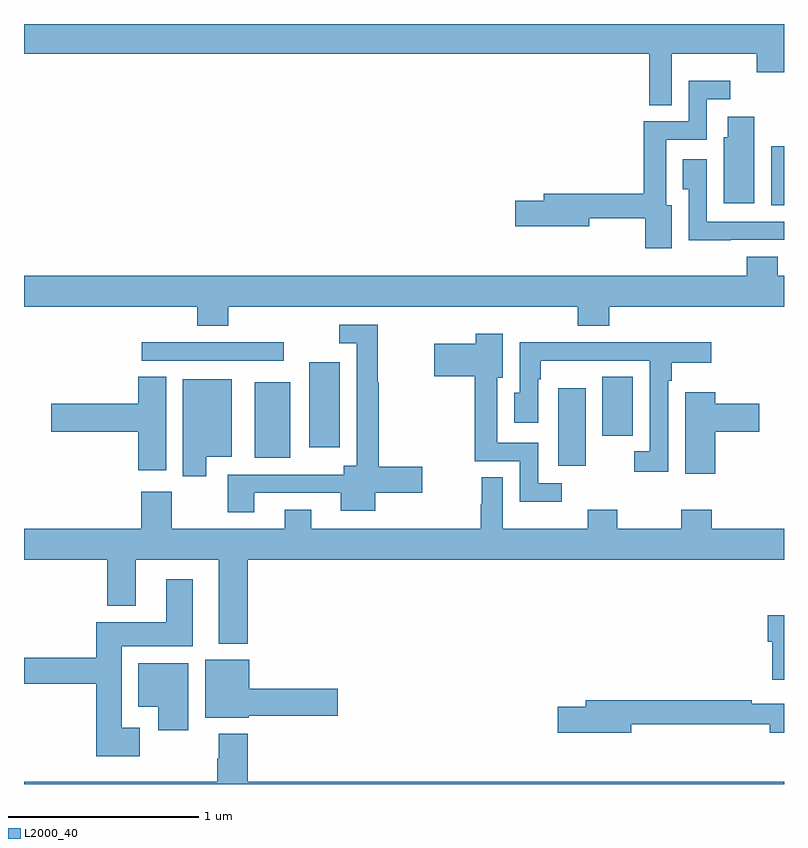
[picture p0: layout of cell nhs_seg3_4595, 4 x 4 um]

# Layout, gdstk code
import gdstk
lib = gdstk.Library(unit=1e-6, precision=1e-09)
def R(c, l, rs):  # rectangles x0, y0, x1, y1
    for r in rs: c.add(gdstk.rectangle(r[:2], r[2:], *l))
def P(c, l, *ps):  # polygons
    for p in ps: c.add(gdstk.Polygon(p, *l))
L2000_40 = (2000, 40)

nhs_seg3_4595 = lib.new_cell('nhs_seg3_4595')
R(nhs_seg3_4595, L2000_40, [(359.813,704.076,359.956,704.482), (358.214,704.117,358.402,704.515), (358.502,704.172,358.663,704.62), (360.044,704.232,360.205,704.543), (357.621,704.628,358.366,704.724), (360.932,705.445,361,705.756)])
P(nhs_seg3_4595, L2000_40, [(360.409,706.244),(360.856,706.244),(360.856,706.145),(361,706.145),(361,706.4),(357,706.4),(357,706.244),(360.291,706.244),(360.291,705.973),(360.409,705.973)],
  [(360.409,705.447),(360.379,705.447),(360.379,705.792),(360.594,705.792),(360.594,706.005),(360.718,706.005),(360.718,706.102),(360.498,706.102),(360.498,705.888),(360.261,705.888),(360.261,705.506),(359.735,705.506),(359.735,705.47),(359.586,705.47),(359.586,705.335),(359.974,705.335),(359.974,705.378),(360.271,705.378),(360.271,705.219),(360.409,705.219)],
  [(360.844,705.913),(360.704,705.913),(360.704,705.804),(360.683,705.804),(360.683,705.456),(360.844,705.456)],
  [(360.719,705.264),(361,705.264),(361,705.36),(360.594,705.36),(360.594,705.688),(360.467,705.688),(360.467,705.529),(360.498,705.529),(360.498,705.263),(360.719,705.263)],
  [(358.076,704.912),(359.915,704.912),(359.915,704.813),(360.08,704.813),(360.08,704.912),(361,704.912),(361,705.076),(360.968,705.076),(360.968,705.175),(360.803,705.175),(360.803,705.076),(357,705.076),(357,704.912),(357.911,704.912),(357.911,704.813),(358.076,704.813)],
  [(358.213,703.932),(358.667,703.932),(358.667,703.838),(358.849,703.838),(358.849,703.934),(359.095,703.934),(359.095,704.069),(358.868,704.069),(358.868,704.514),(358.861,704.514),(358.861,704.817),(358.659,704.817),(358.659,704.721),(358.752,704.721),(358.752,704.074),(358.682,704.074),(358.682,704.028),(358.073,704.028),(358.073,703.83),(358.213,703.83)],
  [(359.83,703.983),(359.706,703.983),(359.706,704.196),(359.491,704.196),(359.491,704.537),(359.521,704.537),(359.521,704.77),(359.378,704.77),(359.378,704.716),(359.16,704.716),(359.16,704.546),(359.373,704.546),(359.373,704.1),(359.61,704.1),(359.61,703.886),(359.83,703.886)],
  [(360.39,704.522),(360.41,704.522),(360.41,704.618),(360.616,704.618),(360.616,704.726),(360.197,704.726),(360.197,704.724),(359.831,704.724),(359.831,704.726),(359.61,704.726),(359.61,704.46),(359.579,704.46),(359.579,704.301),(359.706,704.301),(359.706,704.531),(359.719,704.531),(359.719,704.627),(359.948,704.627),(359.948,704.628),(360.294,704.628),(360.294,704.151),(360.213,704.151),(360.213,704.043),(360.39,704.043)],
  [(357.748,704.543),(357.602,704.543),(357.602,704.402),(357.144,704.402),(357.144,704.255),(357.602,704.255),(357.602,704.052),(357.748,704.052)],
  [(357.958,704.123),(358.093,704.123),(358.093,704.53),(357.836,704.53),(357.836,704.019),(357.958,704.019)],
  [(360.638,704.255),(360.871,704.255),(360.871,704.402),(360.638,704.402),(360.638,704.461),(360.479,704.461),(360.479,704.034),(360.638,704.034)],
  [(358.178,703.58),(361,703.58),(361,703.744),(360.62,703.744),(360.62,703.843),(360.46,703.843),(360.46,703.744),(360.123,703.744),(360.123,703.843),(359.968,703.843),(359.968,703.744),(359.521,703.744),(359.521,704.015),(359.41,704.015),(359.41,703.872),(359.403,703.872),(359.403,703.744),(358.513,703.744),(358.513,703.843),(358.373,703.843),(358.373,703.744),(357.777,703.744),(357.777,703.939),(357.617,703.939),(357.617,703.744),(357,703.744),(357,703.58),(357.437,703.58),(357.437,703.337),(357.589,703.337),(357.589,703.58),(358.025,703.58),(358.025,703.139),(358.178,703.139)],
  [(357.61,702.697),(357.514,702.697),(357.514,703.124),(357.889,703.124),(357.889,703.477),(357.749,703.477),(357.749,703.252),(357.38,703.252),(357.38,703.064),(357,703.064),(357,702.928),(357.38,702.928),(357.38,702.545),(357.61,702.545)],
  [(361,703.287),(360.914,703.287),(360.914,703.15),(360.937,703.15),(360.937,702.948),(361,702.948)],
  [(358.182,702.76),(358.651,702.76),(358.651,702.902),(358.186,702.902),(358.186,703.054),(357.953,703.054),(357.953,702.749),(358.182,702.749)],
  [(357.865,703.036),(357.602,703.036),(357.602,702.806),(357.707,702.806),(357.707,702.684),(357.865,702.684)],
  [(360.196,702.714),(360.926,702.714),(360.926,702.671),(361,702.671),(361,702.822),(360.83,702.822),(360.83,702.842),(359.957,702.842),(359.957,702.806),(359.808,702.806),(359.808,702.671),(360.196,702.671)],
  [(361,702.412),(358.178,702.412),(358.178,702.664),(358.025,702.664),(358.025,702.533),(358.018,702.533),(358.018,702.412),(357,702.412),(357,702.4),(361,702.4)])

lib.write_gds('nhs_seg3_4595.gds')
